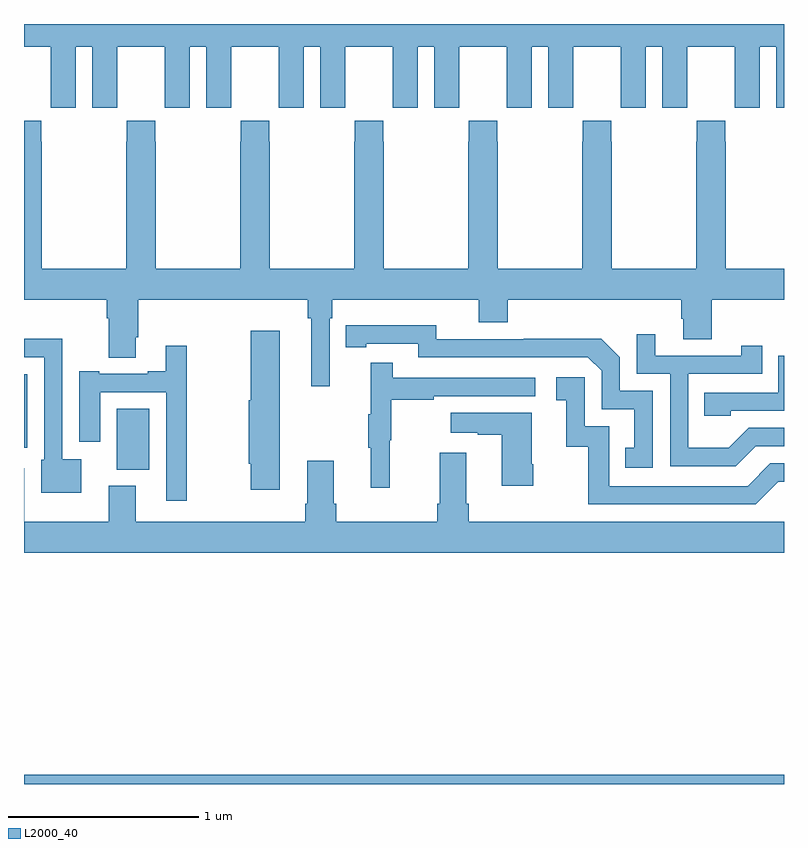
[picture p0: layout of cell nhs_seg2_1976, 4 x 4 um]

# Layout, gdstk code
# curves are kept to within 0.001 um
import gdstk
lib = gdstk.Library(unit=1e-6, precision=1e-09)
def R(c, l, rs):  # rectangles x0, y0, x1, y1
    for r in rs: c.add(gdstk.rectangle(r[:2], r[2:], *l))
def P(c, l, *ps):  # polygons
    for p in ps: c.add(gdstk.Polygon(p, *l))
L2000_40 = (2000, 40)

nhs_seg2_1976 = lib.new_cell('nhs_seg2_1976')
R(nhs_seg2_1976, L2000_40, [(215,599.8,219,599.848), (215.489,601.454,215.659,601.774), (215,601.571,215.017,601.957)])
P(nhs_seg2_1976, L2000_40, [(215.272,603.68),(215.36,603.68),(215.36,603.36),(215.49,603.36),(215.49,603.472),(215.491,603.472),(215.491,603.68),(215.741,603.68),(215.741,603.472),(215.742,603.472),(215.742,603.36),(215.872,603.36),(215.872,603.68),(215.96,603.68),(215.96,603.36),(216.09,603.36),(216.09,603.472),(216.091,603.472),(216.091,603.68),(216.341,603.68),(216.341,603.472),(216.342,603.472),(216.342,603.36),(216.472,603.36),(216.472,603.68),(216.56,603.68),(216.56,603.36),(216.69,603.36),(216.69,603.472),(216.691,603.472),(216.691,603.68),(216.941,603.68),(216.941,603.472),(216.942,603.472),(216.942,603.36),(217.072,603.36),(217.072,603.68),(217.16,603.68),(217.16,603.36),(217.29,603.36),(217.29,603.472),(217.291,603.472),(217.291,603.68),(217.541,603.68),(217.541,603.472),(217.542,603.472),(217.542,603.36),(217.672,603.36),(217.672,603.68),(217.76,603.68),(217.76,603.36),(217.89,603.36),(217.89,603.472),(217.891,603.472),(217.891,603.68),(218.141,603.68),(218.141,603.472),(218.142,603.472),(218.142,603.36),(218.272,603.36),(218.272,603.68),(218.36,603.68),(218.36,603.36),(218.49,603.36),(218.49,603.472),(218.491,603.472),(218.491,603.68),(218.741,603.68),(218.741,603.472),(218.742,603.472),(218.742,603.36),(218.872,603.36),(218.872,603.68),(218.96,603.68),(218.96,603.36),(219,603.36),(219,603.8),(215,603.8),(215,603.68),(215.141,603.68),(215.141,603.472),(215.142,603.472),(215.142,603.36),(215.272,603.36)],
  [(216.609,602.252),(216.623,602.252),(216.623,602.348),(217.394,602.348),(217.394,602.231),(217.547,602.231),(217.547,602.348),(218.459,602.348),(218.459,602.25),(218.471,602.25),(218.471,602.14),(218.619,602.14),(218.619,602.348),(219,602.348),(219,602.512),(218.694,602.512),(218.694,603.179),(218.691,603.179),(218.691,603.292),(218.541,603.292),(218.541,603.179),(218.539,603.179),(218.539,602.512),(218.094,602.512),(218.094,603.179),(218.091,603.179),(218.091,603.292),(217.941,603.292),(217.941,603.179),(217.939,603.179),(217.939,602.512),(217.494,602.512),(217.494,603.179),(217.491,603.179),(217.491,603.292),(217.341,603.292),(217.341,603.179),(217.339,603.179),(217.339,602.512),(216.894,602.512),(216.894,603.179),(216.891,603.179),(216.891,603.292),(216.741,603.292),(216.741,603.179),(216.739,603.179),(216.739,602.512),(216.294,602.512),(216.294,603.179),(216.291,603.179),(216.291,603.292),(216.141,603.292),(216.141,603.179),(216.139,603.179),(216.139,602.512),(215.694,602.512),(215.694,603.179),(215.691,603.179),(215.691,603.292),(215.541,603.292),(215.541,603.179),(215.539,603.179),(215.539,602.512),(215.094,602.512),(215.094,603.179),(215.091,603.179),(215.091,603.292),(215,603.292),(215,602.348),(215.435,602.348),(215.435,602.252),(215.447,602.252),(215.447,602.044),(215.587,602.044),(215.587,602.152),(215.6,602.152),(215.6,602.348),(216.493,602.348),(216.493,602.252),(216.512,602.252),(216.512,601.893),(216.609,601.893)],
  [(218.31,601.869),(218.136,601.869),(218.136,602.046),(218.038,602.144),(217.63,602.144),(217.63,602.142),(217.17,602.142),(217.17,602.215),(216.694,602.214),(216.694,602.098),(216.802,602.098),(216.802,602.118),(217.074,602.118),(217.074,602.046),(217.968,602.046),(218.04,601.974),(218.04,601.773),(218.213,601.773),(218.213,601.569),(218.164,601.569),(218.164,601.464),(218.31,601.464)],
  [(216.346,602.185),(216.193,602.185),(216.193,601.821),(216.182,601.821),(216.182,601.485),(216.193,601.485),(216.193,601.35),(216.346,601.35)],
  [(218.851,601.578),(219,601.578),(219,601.674),(218.814,601.674),(218.71,601.57),(218.496,601.57),(218.496,601.959),(218.885,601.959),(218.885,602.107),(218.774,602.107),(218.774,602.055),(218.323,602.055),(218.323,602.167),(218.226,602.167),(218.226,601.959),(218.4,601.959),(218.4,601.473),(218.746,601.473)],
  [(215.302,601.51),(215.202,601.51),(215.202,602.144),(215,602.144),(215,602.046),(215.106,602.046),(215.106,601.506),(215.09,601.506),(215.09,601.334),(215.302,601.334)],
  [(215.857,602.107),(215.747,602.107),(215.747,601.972),(215.651,601.972),(215.651,601.959),(215.395,601.959),(215.395,601.972),(215.291,601.972),(215.291,601.602),(215.401,601.602),(215.401,601.863),(215.748,601.863),(215.748,601.29),(215.857,601.29)],
  [(218.721,601.764),(219,601.764),(219,602.055),(218.97,602.055),(218.97,601.86),(218.581,601.86),(218.581,601.737),(218.721,601.737)],
  [(216.926,601.608),(216.934,601.608),(216.934,601.822),(217.157,601.822),(217.157,601.842),(217.69,601.842),(217.69,601.938),(216.941,601.938),(216.941,602.017),(216.824,602.017),(216.824,601.745),(216.813,601.745),(216.813,601.571),(216.824,601.571),(216.824,601.359),(216.926,601.359)],
  [(218.97,601.392),(219,601.392),(219,601.488),(218.928,601.488),(218.808,601.368),(218.079,601.368),(218.079,601.683),(217.95,601.683),(217.95,601.942),(217.8,601.942),(217.8,601.821),(217.853,601.821),(217.853,601.575),(217.971,601.575),(217.971,601.272),(218.85,601.272)],
  [(217.68,601.483),(217.672,601.483),(217.672,601.753),(217.245,601.753),(217.245,601.649),(217.388,601.649),(217.388,601.639),(217.514,601.639),(217.514,601.371),(217.68,601.371)],
  [(219,601.18),(217.34,601.18),(217.34,601.276),(217.327,601.276),(217.327,601.543),(217.187,601.543),(217.187,601.276),(217.175,601.276),(217.175,601.18),(216.644,601.18),(216.644,601.276),(216.631,601.276),(216.631,601.501),(216.491,601.501),(216.491,601.276),(216.479,601.276),(216.479,601.18),(215.587,601.18),(215.587,601.369),(215.447,601.369),(215.447,601.18),(215.002,601.18),(215.002,601.462),(215,601.462),(215,601.016),(219,601.016)])

lib.write_gds('nhs_seg2_1976.gds')
